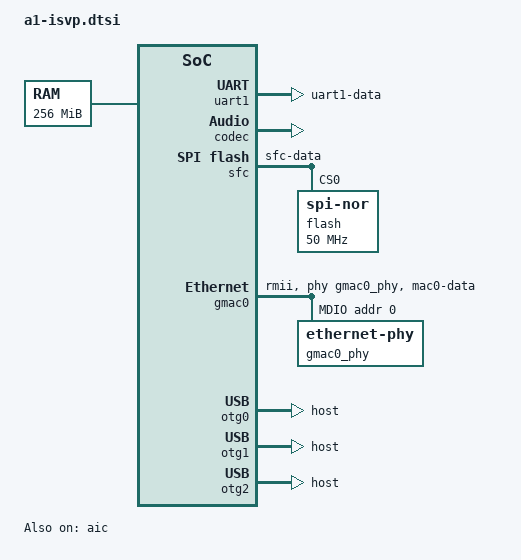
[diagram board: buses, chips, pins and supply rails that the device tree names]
// SPDX-License-Identifier: GPL-2.0+
/*
 * Ingenic ISVP-A1 board body, shared by every A1 SKU. The per-SKU
 * leaf .dts (a1n-isvp.dts, ...) includes this file and sets the
 * per-SKU compatible on &ddr. A1 is SFC-NOR only today; if a NAND A1
 * board appears, split the flash node into boot-media fragments like
 * T40.
 */

#include <dt-bindings/clock/ingenic,a1-cgu.h>

/ {
	compatible = "ingenic,a1";
	#address-cells = <1>;
	#size-cells = <1>;

	aliases {
		serial1 = &uart1;
	};

	chosen {
		stdout-path = "serial1:115200n8";
	};

	memory@0 {
		device_type = "memory";
		reg = <0x0 0x10000000>;
	};

	ddr: memory-controller@b34f0000 {
		reg = <0xb34f0000 0x3000>;
		/* compatible is set by the per-SKU leaf .dts. */
		bootph-all;
	};

	cgu: clock-controller@b0000000 {
		compatible = "ingenic,a1-cgu";
		reg = <0xb0000000 0x1000>;
		#clock-cells = <1>;
		bootph-all;
	};

	pinctrl: pinctrl@b0010000 {
		compatible = "ingenic,a1-pinctrl";
		reg = <0xb0010000 0x8000>;
		#address-cells = <1>;
		#size-cells = <0>;
		bootph-all;

		gpa: gpio@0 {
			compatible = "ingenic,a1-gpio";
			reg = <0>;
			gpio-controller;
			#gpio-cells = <2>;
			bootph-all;
		};

		gpb: gpio@1 {
			compatible = "ingenic,a1-gpio";
			reg = <1>;
			gpio-controller;
			#gpio-cells = <2>;
			bootph-all;
		};

		gpc: gpio@2 {
			compatible = "ingenic,a1-gpio";
			reg = <2>;
			gpio-controller;
			#gpio-cells = <2>;
			bootph-all;
		};

		gpd: gpio@3 {
			compatible = "ingenic,a1-gpio";
			reg = <3>;
			gpio-controller;
			#gpio-cells = <2>;
			bootph-all;
		};

		gpe: gpio@4 {
			compatible = "ingenic,a1-gpio";
			reg = <4>;
			gpio-controller;
			#gpio-cells = <2>;
			bootph-all;
		};

		pins_uart1: uart1 {
			function = "uart1";
			groups = "uart1-data";
			bootph-all;
		};

		pins_sfc: sfc {
			function = "sfc";
			groups = "sfc-data";
			bootph-all;
		};

		pins_mac0: mac0 {
			function = "mac0";
			groups = "mac0-data";
		};
	};

	uart1: serial@b0031000 {
		compatible = "ingenic,jz4780-uart", "ns16550a";
		reg = <0xb0031000 0x100>;
		reg-shift = <2>;
		clock-frequency = <24000000>;
		pinctrl-names = "default";
		pinctrl-0 = <&pins_uart1>;
		status = "okay";
		bootph-all;
	};

	/*
	 * TCU (timer/counter unit) container mirroring T31/T41's binding.
	 * U-Boot only needs the watchdog child for sysreset; the WDT
	 * self-clocks from the 32 kHz RTC so no TCU clock provider is
	 * required. Replaces the hand-rolled a1/soc.c _machine_restart().
	 */
	tcu: timer@b0002000 {
		compatible = "ingenic,a1-tcu", "ingenic,jz4760-tcu",
			     "simple-mfd";
		reg = <0xb0002000 0x1000>;
		#address-cells = <1>;
		#size-cells = <1>;
		ranges = <0x0 0xb0002000 0x1000>;

		watchdog: watchdog@0 {
			compatible = "ingenic,a1-watchdog",
				     "ingenic,jz4780-watchdog";
			reg = <0x0 0x10>;
		};
	};

	/*
	 * AIC (audio interface controller) + on-chip codec. PIO/DMA playback
	 * driven by U-Boot's `sound` command, handled by the self-contained
	 * drivers/sound/a1_audio.c (the A1 codec is its own register block at
	 * 0xb0022000, distinct from T41's; the AIC is T41-like). Addresses
	 * confirmed against the A1-1.7.0 kernel soc/base.h.
	 */
	aic: audio-controller@b0020000 {
		compatible = "ingenic,a1-aic";
		reg = <0xb0020000 0x100>;
		clocks = <&cgu A1_CLK_APLL>;
		clock-names = "apll";
		#sound-dai-cells = <0>;
		status = "okay";
	};

	codec: audio-codec@b0022000 {
		compatible = "ingenic,a1-codec";
		reg = <0xb0022000 0x140>;
		#sound-dai-cells = <0>;
		status = "okay";
	};

	sound: sound {
		compatible = "ingenic,a1-sound";
		status = "okay";

		cpu {
			sound-dai = <&aic>;
		};

		codec {
			sound-dai = <&codec>;
		};
	};

	sfc: spi@b3440000 {
		compatible = "ingenic,a1-sfc";
		reg = <0xb3440000 0x10000>;
		#address-cells = <1>;
		#size-cells = <0>;
		clocks = <&cgu A1_CLK_SFC>;
		pinctrl-names = "default";
		pinctrl-0 = <&pins_sfc>;
		spi-max-frequency = <50000000>;
		status = "okay";
		bootph-all;

		flash@0 {
			compatible = "jedec,spi-nor";
			reg = <0>;
			spi-max-frequency = <50000000>;
			bootph-all;
		};
	};

	gmac0: ethernet@b30b0000 {
		compatible = "ingenic,a1-gmac";
		reg = <0xb30b0000 0x10000>;
		clocks = <&cgu A1_CLK_GMAC0>;
		phy-mode = "rmii";
		phy-handle = <&gmac0_phy>;
		ingenic,mode-reg = <0xb00000c8>;
		max-speed = <100>;
		pinctrl-names = "default";
		pinctrl-0 = <&pins_mac0>;
		status = "okay";

		mdio {
			#address-cells = <1>;
			#size-cells = <0>;

			gmac0_phy: ethernet-phy@0 {
				reg = <0>;
			};
		};
	};

	otg0: usb@b3600000 {
		compatible = "snps,dwc2";
		reg = <0xb3600000 0x40000>;
		clocks = <&cgu A1_CLK_OTG0>;
		dr_mode = "host";
		status = "okay";
	};

	otg1: usb@b3640000 {
		compatible = "snps,dwc2";
		reg = <0xb3640000 0x40000>;
		clocks = <&cgu A1_CLK_OTG1>;
		dr_mode = "host";
		status = "okay";
	};

	otg2: usb@b3680000 {
		compatible = "snps,dwc2";
		reg = <0xb3680000 0x40000>;
		clocks = <&cgu A1_CLK_OTG2>;
		dr_mode = "host";
		status = "okay";
	};
};
